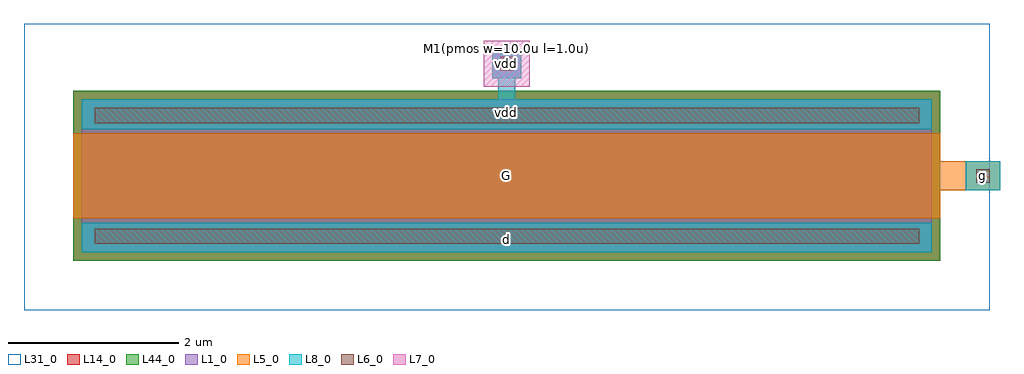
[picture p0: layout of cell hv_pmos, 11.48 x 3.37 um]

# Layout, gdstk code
import gdstk
lib = gdstk.Library(unit=1e-6, precision=1e-09)
def R(c, l, rs):  # rectangles x0, y0, x1, y1
    for r in rs: c.add(gdstk.rectangle(r[:2], r[2:], *l))
L1_0 = (1, 0)
L5_0 = (5, 0)
L6_0 = (6, 0)
L7_0 = (7, 0)
L8_0 = (8, 0)
L14_0 = (14, 0)
L31_0 = (31, 0)
L44_0 = (44, 0)

hv_pmos = lib.new_cell('hv_pmos')
R(hv_pmos, L1_0, [(-5,-0.9,5,0.9), (-0.17,1.15,0.17,1.49)])
R(hv_pmos, L5_0, [(-5.1,-0.5,5.1,0.5), (5.1,-0.17,5.8,0.17)])
R(hv_pmos, L6_0, [(-4.85,-0.8,4.85,-0.62), (5.52,-0.08,5.68,0.08), (-4.85,0.62,4.85,0.8), (-0.08,1.24,0.08,1.4)])
R(hv_pmos, L7_0, [(-0.27,1.05,0.27,1.59)])
R(hv_pmos, L8_0, [(-5,-0.9,5,-0.55), (5.4,-0.17,5.8,0.17), (-5,0.55,5,0.9), (-0.1,0.85,0.1,1.15), (-0.17,1.15,0.17,1.49)])
R(hv_pmos, L14_0, [(-5.1,-1,5.1,1)])
R(hv_pmos, L31_0, [(-5.68,-1.58,5.68,1.79)])
R(hv_pmos, L44_0, [(-5.1,-1,5.1,1)])
hv_pmos.add(gdstk.Label('G', (0,0), layer=5, texttype=1))
hv_pmos.add(gdstk.Label('vdd', (0,0.75), layer=8, texttype=1))
hv_pmos.add(gdstk.Label('d', (0,-0.75), layer=8, texttype=1))
hv_pmos.add(gdstk.Label('vdd', (0,1.32), layer=8, texttype=1))
hv_pmos.add(gdstk.Label('g', (5.6,0), layer=8, texttype=1))
hv_pmos.add(gdstk.Label('M1(pmos w=10.0u l=1.0u)', (0,1.5), layer=63, texttype=0))
hv_pmos.add(gdstk.Label('VDD', (0,0.75), layer=8, texttype=25))
hv_pmos.add(gdstk.Label('D', (0,-0.75), layer=8, texttype=25))
hv_pmos.add(gdstk.Label('VDD', (0,1.32), layer=8, texttype=25))
hv_pmos.add(gdstk.Label('G', (5.6,0), layer=8, texttype=25))

lib.write_gds('hv_pmos.gds')
